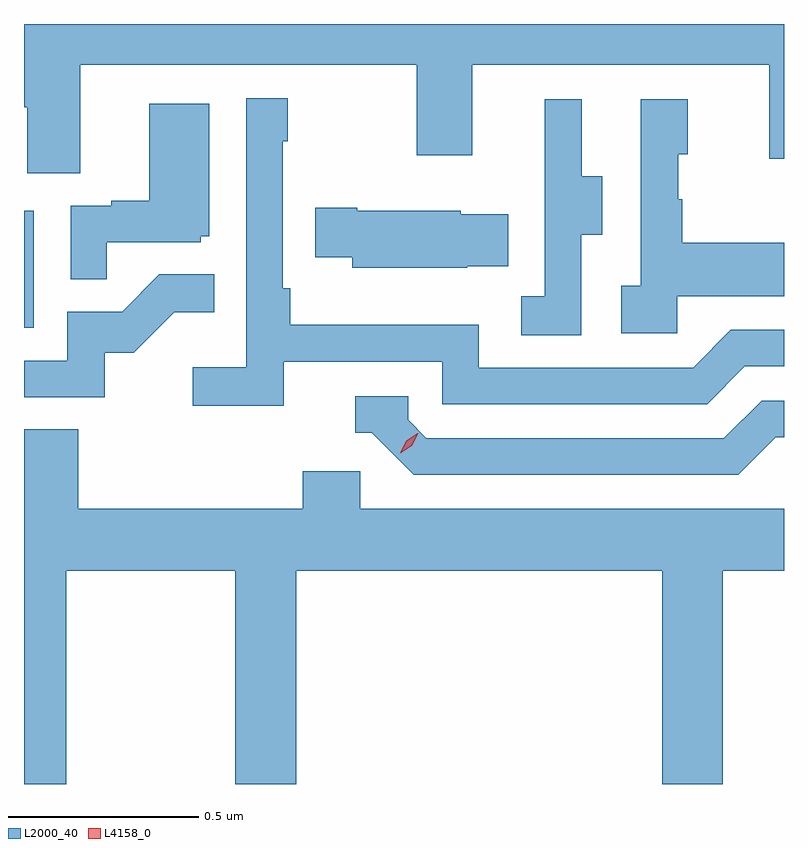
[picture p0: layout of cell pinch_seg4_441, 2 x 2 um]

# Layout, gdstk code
import gdstk
lib = gdstk.Library(unit=1e-6, precision=1e-09)
def R(c, l, rs):  # rectangles x0, y0, x1, y1
    for r in rs: c.add(gdstk.rectangle(r[:2], r[2:], *l))
def P(c, l, *ps):  # polygons
    for p in ps: c.add(gdstk.Polygon(p, *l))
L2000_40 = (2000, 40)
L4158_0 = (4158, 0)

pinch_seg4_441 = lib.new_cell('pinch_seg4_441')
R(pinch_seg4_441, L2000_40, [(926.475,773.484,926.5,773.791)])
P(pinch_seg4_441, L2000_40, [(926.623,774.176),(927.508,774.176),(927.508,773.937),(927.655,773.937),(927.655,774.176),(928.436,774.176),(928.436,773.928),(928.475,773.928),(928.475,774.283),(926.475,774.283),(926.475,774.064),(926.483,774.064),(926.483,773.89),(926.623,773.89)],
  [(927.158,773.394),(927.576,773.394),(927.576,773.283),(928.273,773.283),(928.372,773.382),(928.475,773.382),(928.475,773.478),(928.335,773.478),(928.236,773.379),(927.672,773.379),(927.672,773.491),(927.176,773.491),(927.176,773.587),(927.156,773.587),(927.156,773.975),(927.169,773.975),(927.169,774.088),(927.06,774.088),(927.06,773.38),(926.919,773.38),(926.919,773.278),(927.158,773.278)],
  [(928.194,773.567),(928.475,773.567),(928.475,773.707),(928.207,773.707),(928.207,773.822),(928.197,773.822),(928.197,773.94),(928.222,773.94),(928.222,774.085),(928.098,774.085),(928.098,773.594),(928.047,773.594),(928.047,773.469),(928.194,773.469)],
  [(927.942,773.728),(927.997,773.728),(927.997,773.883),(927.943,773.883),(927.943,774.085),(927.845,774.085),(927.845,773.871),(927.846,773.871),(927.846,773.567),(927.783,773.567),(927.783,773.464),(927.942,773.464)],
  [(926.693,773.709),(926.94,773.709),(926.94,773.724),(926.962,773.724),(926.962,774.073),(926.804,774.073),(926.804,773.818),(926.705,773.818),(926.705,773.805),(926.598,773.805),(926.598,773.611),(926.693,773.611)],
  [(927.641,773.645),(927.749,773.645),(927.749,773.782),(927.624,773.782),(927.624,773.791),(927.352,773.791),(927.352,773.799),(927.241,773.799),(927.241,773.669),(927.339,773.669),(927.339,773.642),(927.641,773.642)],
  [(926.688,773.418),(926.764,773.418),(926.871,773.525),(926.975,773.525),(926.975,773.624),(926.831,773.624),(926.733,773.526),(926.589,773.526),(926.589,773.397),(926.475,773.397),(926.475,773.301),(926.688,773.301)],
  [(928.453,773.196),(928.475,773.196),(928.475,773.292),(928.416,773.292),(928.317,773.193),(927.534,773.193),(927.486,773.241),(927.486,773.304),(927.347,773.304),(927.347,773.208),(927.39,773.208),(927.501,773.097),(928.354,773.097)],
  [(926.475,772.283),(926.586,772.283),(926.586,772.844),(927.031,772.844),(927.031,772.283),(927.191,772.283),(927.191,772.844),(928.154,772.844),(928.154,772.283),(928.314,772.283),(928.314,772.844),(928.475,772.844),(928.475,773.008),(927.36,773.008),(927.36,773.106),(927.209,773.106),(927.209,773.008),(926.618,773.008),(926.618,773.216),(926.475,773.216)])
P(pinch_seg4_441, L4158_0, [(927.465,773.153),(927.465,773.153),(927.481,773.186),(927.511,773.206),(927.512,773.206),(927.512,773.206),(927.496,773.173),(927.465,773.153)])

lib.write_gds('pinch_seg4_441.gds')
